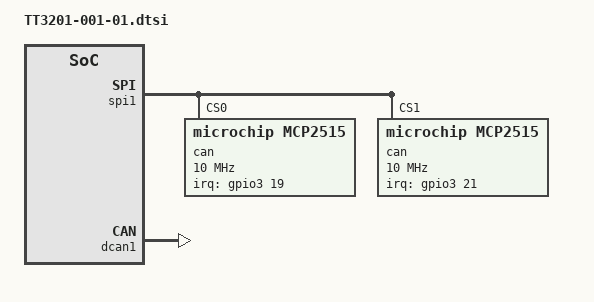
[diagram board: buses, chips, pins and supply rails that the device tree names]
#include "subarctic/pinctrl.h"
#include "bone/pins.h"
#include "irq.h"

// note: this metadata is ignored

compatible = "ti,beaglebone", "ti,beaglebone-black";
part-number = "TT3201-001";
version = "01";

exclusive-use =
	// pins required
	"P9.27",	// spi irq: gpio3_19
	"P9.25",	// spi irq: gpio3_21
	"P9.31",	// spi: spi1_sclk
	"P9.29",	// spi: spi1_d0
	"P9.30",	// spi: spi1_d1
	"P9.28",	// spi: spi1_cs0
	"P9.42",	// spi: spi1_cs1
	"P9.26",	// dcan1: dcan1_tx
	"P9.24",	// dcan1: dcan1_rx
	// SoC resources required
	"gpio3_19",
	"gpio3_21",
	"spi1",
	"dcan1";

// disable conflicting cape-universal nodes

USES_PIN( P9.24 );
USES_PIN( P9.25 );
USES_PIN( P9.26 );
USES_PIN( P9.27 );

// can interfaces 1 and 2, using separate controllers on spi

#define SPI1_DUAL_CS 1
#include "spi1.dtsi"

/ {
	tt3201_clk: tt3201_clk {
		 #clock-cells = <0>;
		 compatible = "fixed-clock";
		 clock-frequency = <16000000>;
	};
};

&spi1 {
	can@0 {
		reg = <0>;
		spi-max-frequency = <10000000>;

		compatible = "microchip,mcp2515";
		clocks = <&tt3201_clk>;
		interrupt-parent = <&gpio3>;
		interrupts = <19 IRQ_TYPE_EDGE_FALLING>;

		pinctrl-names = "default";
		pinctrl-0 = <&spi1_can0_pins>;

		ifname = "can1";
	};

	can@1 {
		reg = <1>;
		spi-max-frequency = <10000000>;

		compatible = "microchip,mcp2515";
		clocks = <&tt3201_clk>;
		interrupt-parent = <&gpio3>;
		interrupts = <21 IRQ_TYPE_EDGE_FALLING>;

		pinctrl-names = "default";
		pinctrl-0 = <&spi1_can1_pins>;

		ifname = "can2";
	};
};

&am33xx_pinmux {
	spi1_can0_pins: spi1_can0 {
		pinctrl-single,pins = <
			PIN_PULLUP( P9_27, 7 )  // gpio 3.19 / irq
		>;
	};

	spi1_can1_pins: spi1_can1 {
		pinctrl-single,pins = <
			PIN_PULLUP( P9_25, 7 )  // gpio 3.21 / irq
		>;
	};
};


// can interface 3

&dcan1 {
	pinctrl-names = "default";
	pinctrl-0 = <&can1_pins>;

	status = "okay";

	ifname = "can3";
};

&am33xx_pinmux {
	can1_pins: can1 {
		pinctrl-single,pins = <
			PIN_PULLUP( P9_24, 2 )  // rx
			PIN_PULLUP( P9_26, 2 )  // tx
		>;
	};
};
